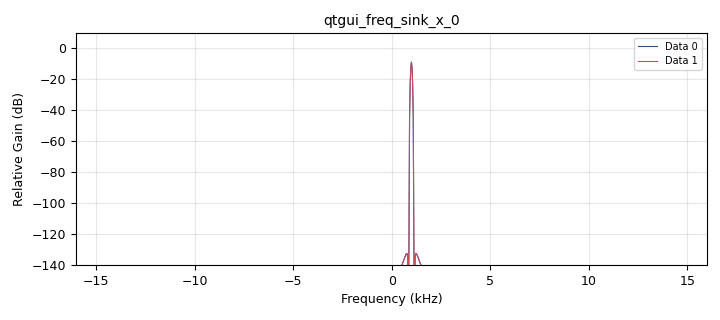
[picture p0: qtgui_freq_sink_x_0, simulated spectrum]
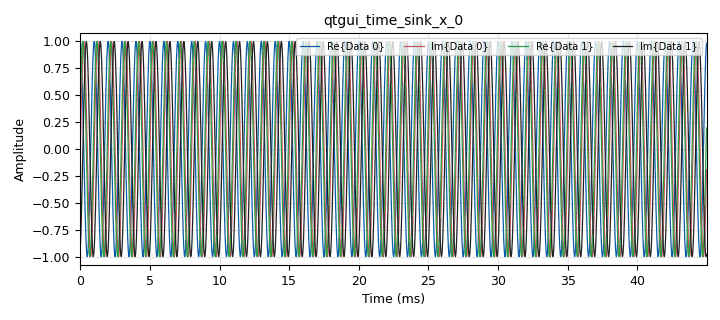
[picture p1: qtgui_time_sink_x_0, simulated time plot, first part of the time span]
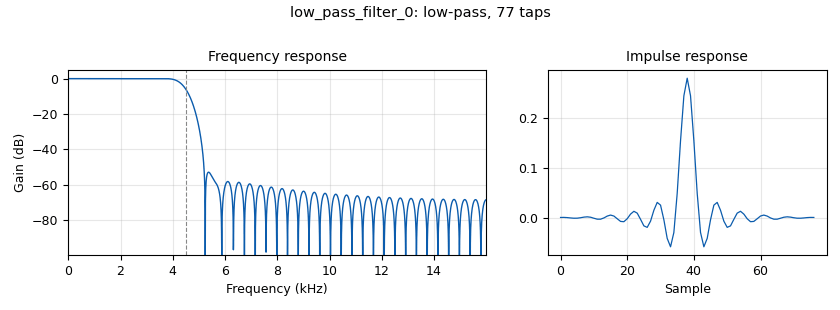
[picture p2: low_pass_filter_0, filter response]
options:
  parameters:
    generate_options: qt_gui
    id: week1_lecture2
    output_language: python
    title: Not titled yet
  states: {}

blocks:
- name: freq
  id: variable_qtgui_range
  parameters:
    start: '1000'
    step: '1'
    stop: '16000'
    value: '1000'
  states: {}
- name: samp_rate
  id: variable
  parameters:
    value: '32000'
  states: {}
- name: analog_sig_source_x_0
  id: analog_sig_source_x
  parameters:
    amp: '1'
    freq: freq
    offset: '0'
    phase: '0'
    samp_rate: samp_rate
    type: complex
    waveform: analog.GR_COS_WAVE
  states: {}
- name: audio_sink_0
  id: audio_sink
  parameters:
    samp_rate: samp_rate
  states: {}
- name: low_pass_filter_0
  id: low_pass_filter
  parameters:
    cutoff_freq: '4500'
    decim: '1'
    gain: '1'
    samp_rate: samp_rate
    type: fir_filter_ccf
    width: '1000'
    win: window.WIN_HAMMING
  states: {}
- name: qtgui_freq_sink_x_0
  id: qtgui_freq_sink_x
  parameters:
    bw: samp_rate
    fc: '0'
    fftsize: '1024'
    nconnections: '2'
    type: complex
  states: {}
- name: qtgui_time_sink_x_0
  id: qtgui_time_sink_x
  parameters:
    nconnections: '2'
    size: '4096'
    srate: samp_rate
    type: complex
  states: {}

connections:
- [analog_sig_source_x_0, '0', low_pass_filter_0, '0']
- [analog_sig_source_x_0, '0', qtgui_freq_sink_x_0, '0']
- [analog_sig_source_x_0, '0', qtgui_time_sink_x_0, '0']
- [low_pass_filter_0, '0', audio_sink_0, '0']
- [low_pass_filter_0, '0', qtgui_freq_sink_x_0, '1']
- [low_pass_filter_0, '0', qtgui_time_sink_x_0, '1']

metadata:
  file_format: 1
  grc_version: 3.10.7.0
